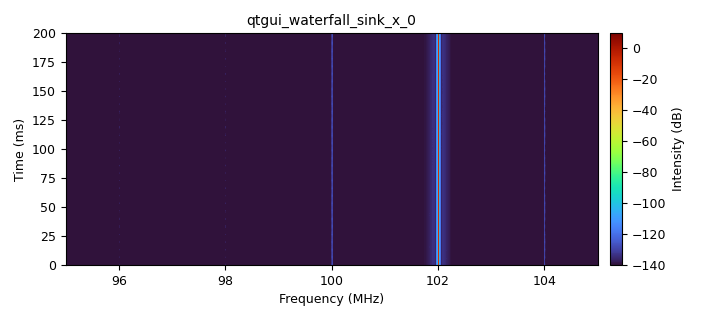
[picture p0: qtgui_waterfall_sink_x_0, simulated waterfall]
options:
  parameters:
    generate_options: qt_gui
    id: ex_tx_01
    output_language: python
    title: Not titled yet
  states: {}

blocks:
- name: samp_rate
  id: variable
  parameters:
    value: 10e6
  states: {}
- name: analog_sig_source_x_0
  id: analog_sig_source_x
  parameters:
    amp: '1'
    freq: 2e6
    offset: '0'
    phase: '0'
    samp_rate: samp_rate
    type: complex
    waveform: analog.GR_SIN_WAVE
  states: {}
- name: blocks_multiply_const_vxx_0
  id: blocks_multiply_const_vxx
  parameters:
    const: '1'
    type: complex
  states: {}
- name: osmosdr_sink_0
  id: osmosdr_sink
  parameters:
    args: '"hackrf=0"'
    bb_gain0: '20'
    freq0: 100e6
    gain0: '30'
    if_gain0: '20'
    sample_rate: samp_rate
    sync: sync
    type: fc32
  states: {}
- name: qtgui_waterfall_sink_x_0
  id: qtgui_waterfall_sink_x
  parameters:
    bw: samp_rate
    fc: 100e6
    fftsize: '4096'
    type: complex
  states: {}

connections:
- [analog_sig_source_x_0, '0', blocks_multiply_const_vxx_0, '0']
- [blocks_multiply_const_vxx_0, '0', osmosdr_sink_0, '0']
- [blocks_multiply_const_vxx_0, '0', qtgui_waterfall_sink_x_0, '0']

metadata:
  file_format: 1
  grc_version: 3.10.9.2
